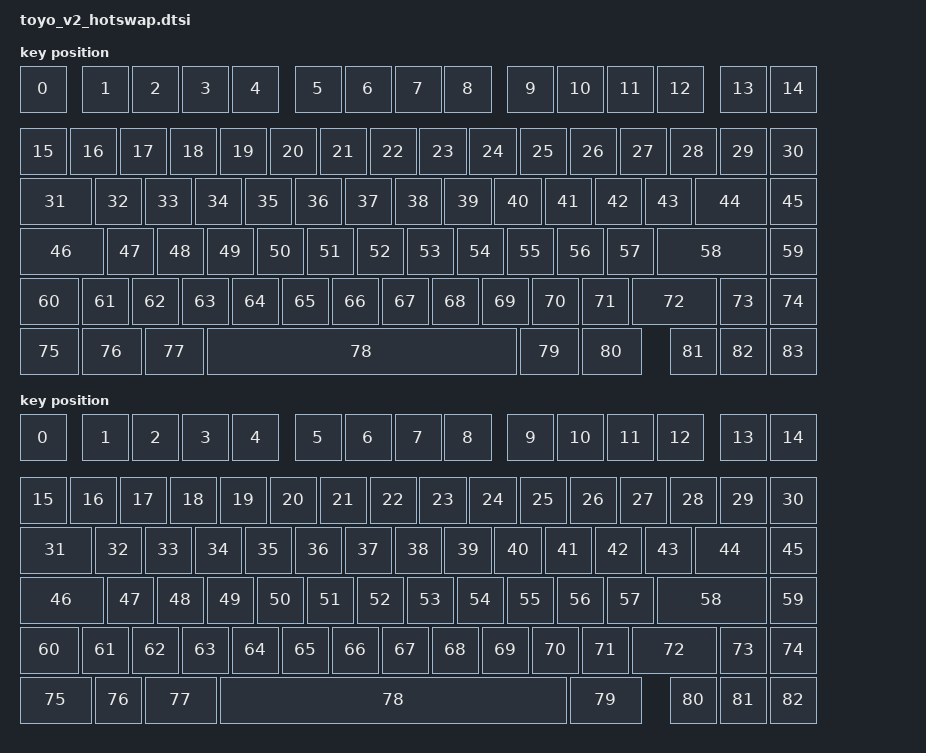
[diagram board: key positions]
#include <physical_layouts.dtsi>

/ {
    ansi_layout: ansi_layout {
        compatible = "zmk,physical-layout";
        display-name = "ANSI";

        kscan = <&kscan0>;
        transform = <&matrix_transform_0>;

        keys  //                     w   h    x    y     rot    rx    ry
            = <&key_physical_attrs 100 100    0    0       0     0     0>
            , <&key_physical_attrs 100 100  125    0       0     0     0>
            , <&key_physical_attrs 100 100  225    0       0     0     0>
            , <&key_physical_attrs 100 100  325    0       0     0     0>
            , <&key_physical_attrs 100 100  425    0       0     0     0>
            , <&key_physical_attrs 100 100  550    0       0     0     0>
            , <&key_physical_attrs 100 100  650    0       0     0     0>
            , <&key_physical_attrs 100 100  750    0       0     0     0>
            , <&key_physical_attrs 100 100  850    0       0     0     0>
            , <&key_physical_attrs 100 100  975    0       0     0     0>
            , <&key_physical_attrs 100 100 1075    0       0     0     0>
            , <&key_physical_attrs 100 100 1175    0       0     0     0>
            , <&key_physical_attrs 100 100 1275    0       0     0     0>
            , <&key_physical_attrs 100 100 1400    0       0     0     0>
            , <&key_physical_attrs 100 100 1500    0       0     0     0>
            , <&key_physical_attrs 100 100    0  125       0     0     0>
            , <&key_physical_attrs 100 100  100  125       0     0     0>
            , <&key_physical_attrs 100 100  200  125       0     0     0>
            , <&key_physical_attrs 100 100  300  125       0     0     0>
            , <&key_physical_attrs 100 100  400  125       0     0     0>
            , <&key_physical_attrs 100 100  500  125       0     0     0>
            , <&key_physical_attrs 100 100  600  125       0     0     0>
            , <&key_physical_attrs 100 100  700  125       0     0     0>
            , <&key_physical_attrs 100 100  800  125       0     0     0>
            , <&key_physical_attrs 100 100  900  125       0     0     0>
            , <&key_physical_attrs 100 100 1000  125       0     0     0>
            , <&key_physical_attrs 100 100 1100  125       0     0     0>
            , <&key_physical_attrs 100 100 1200  125       0     0     0>
            , <&key_physical_attrs 100 100 1300  125       0     0     0>
            , <&key_physical_attrs 100 100 1400  125       0     0     0>
            , <&key_physical_attrs 100 100 1500  125       0     0     0>
            , <&key_physical_attrs 150 100    0  225       0     0     0>
            , <&key_physical_attrs 100 100  150  225       0     0     0>
            , <&key_physical_attrs 100 100  250  225       0     0     0>
            , <&key_physical_attrs 100 100  350  225       0     0     0>
            , <&key_physical_attrs 100 100  450  225       0     0     0>
            , <&key_physical_attrs 100 100  550  225       0     0     0>
            , <&key_physical_attrs 100 100  650  225       0     0     0>
            , <&key_physical_attrs 100 100  750  225       0     0     0>
            , <&key_physical_attrs 100 100  850  225       0     0     0>
            , <&key_physical_attrs 100 100  950  225       0     0     0>
            , <&key_physical_attrs 100 100 1050  225       0     0     0>
            , <&key_physical_attrs 100 100 1150  225       0     0     0>
            , <&key_physical_attrs 100 100 1250  225       0     0     0>
            , <&key_physical_attrs 150 100 1350  225       0     0     0>
            , <&key_physical_attrs 100 100 1500  225       0     0     0>
            , <&key_physical_attrs 175 100    0  325       0     0     0>
            , <&key_physical_attrs 100 100  175  325       0     0     0>
            , <&key_physical_attrs 100 100  275  325       0     0     0>
            , <&key_physical_attrs 100 100  375  325       0     0     0>
            , <&key_physical_attrs 100 100  475  325       0     0     0>
            , <&key_physical_attrs 100 100  575  325       0     0     0>
            , <&key_physical_attrs 100 100  675  325       0     0     0>
            , <&key_physical_attrs 100 100  775  325       0     0     0>
            , <&key_physical_attrs 100 100  875  325       0     0     0>
            , <&key_physical_attrs 100 100  975  325       0     0     0>
            , <&key_physical_attrs 100 100 1075  325       0     0     0>
            , <&key_physical_attrs 100 100 1175  325       0     0     0>
            , <&key_physical_attrs 225 100 1275  325       0     0     0>
            , <&key_physical_attrs 100 100 1500  325       0     0     0>
            , <&key_physical_attrs 125 100    0  425       0     0     0>
            , <&key_physical_attrs 100 100  125  425       0     0     0>
            , <&key_physical_attrs 100 100  225  425       0     0     0>
            , <&key_physical_attrs 100 100  325  425       0     0     0>
            , <&key_physical_attrs 100 100  425  425       0     0     0>
            , <&key_physical_attrs 100 100  525  425       0     0     0>
            , <&key_physical_attrs 100 100  625  425       0     0     0>
            , <&key_physical_attrs 100 100  725  425       0     0     0>
            , <&key_physical_attrs 100 100  825  425       0     0     0>
            , <&key_physical_attrs 100 100  925  425       0     0     0>
            , <&key_physical_attrs 100 100 1025  425       0     0     0>
            , <&key_physical_attrs 100 100 1125  425       0     0     0>
            , <&key_physical_attrs 175 100 1225  425       0     0     0>
            , <&key_physical_attrs 100 100 1400  425       0     0     0>
            , <&key_physical_attrs 100 100 1500  425       0     0     0>
            , <&key_physical_attrs 125 100    0  525       0     0     0>
            , <&key_physical_attrs 125 100  125  525       0     0     0>
            , <&key_physical_attrs 125 100  250  525       0     0     0>
            , <&key_physical_attrs 625 100  375  525       0     0     0>
            , <&key_physical_attrs 125 100 1000  525       0     0     0>
            , <&key_physical_attrs 125 100 1125  525       0     0     0>
            , <&key_physical_attrs 100 100 1300  525       0     0     0>
            , <&key_physical_attrs 100 100 1400  525       0     0     0>
            , <&key_physical_attrs 100 100 1500  525       0     0     0>
            ;
    };

    tsangan_layout: tsangan_layout {
        compatible = "zmk,physical-layout";
        display-name = "TSANGAN";

        kscan = <&kscan0>;
        transform = <&matrix_transform_1>;

        keys  //                     w   h    x    y     rot    rx    ry
            = <&key_physical_attrs 100 100    0    0       0     0     0>
            , <&key_physical_attrs 100 100  125    0       0     0     0>
            , <&key_physical_attrs 100 100  225    0       0     0     0>
            , <&key_physical_attrs 100 100  325    0       0     0     0>
            , <&key_physical_attrs 100 100  425    0       0     0     0>
            , <&key_physical_attrs 100 100  550    0       0     0     0>
            , <&key_physical_attrs 100 100  650    0       0     0     0>
            , <&key_physical_attrs 100 100  750    0       0     0     0>
            , <&key_physical_attrs 100 100  850    0       0     0     0>
            , <&key_physical_attrs 100 100  975    0       0     0     0>
            , <&key_physical_attrs 100 100 1075    0       0     0     0>
            , <&key_physical_attrs 100 100 1175    0       0     0     0>
            , <&key_physical_attrs 100 100 1275    0       0     0     0>
            , <&key_physical_attrs 100 100 1400    0       0     0     0>
            , <&key_physical_attrs 100 100 1500    0       0     0     0>
            , <&key_physical_attrs 100 100    0  125       0     0     0>
            , <&key_physical_attrs 100 100  100  125       0     0     0>
            , <&key_physical_attrs 100 100  200  125       0     0     0>
            , <&key_physical_attrs 100 100  300  125       0     0     0>
            , <&key_physical_attrs 100 100  400  125       0     0     0>
            , <&key_physical_attrs 100 100  500  125       0     0     0>
            , <&key_physical_attrs 100 100  600  125       0     0     0>
            , <&key_physical_attrs 100 100  700  125       0     0     0>
            , <&key_physical_attrs 100 100  800  125       0     0     0>
            , <&key_physical_attrs 100 100  900  125       0     0     0>
            , <&key_physical_attrs 100 100 1000  125       0     0     0>
            , <&key_physical_attrs 100 100 1100  125       0     0     0>
            , <&key_physical_attrs 100 100 1200  125       0     0     0>
            , <&key_physical_attrs 100 100 1300  125       0     0     0>
            , <&key_physical_attrs 100 100 1400  125       0     0     0>
            , <&key_physical_attrs 100 100 1500  125       0     0     0>
            , <&key_physical_attrs 150 100    0  225       0     0     0>
            , <&key_physical_attrs 100 100  150  225       0     0     0>
            , <&key_physical_attrs 100 100  250  225       0     0     0>
            , <&key_physical_attrs 100 100  350  225       0     0     0>
            , <&key_physical_attrs 100 100  450  225       0     0     0>
            , <&key_physical_attrs 100 100  550  225       0     0     0>
            , <&key_physical_attrs 100 100  650  225       0     0     0>
            , <&key_physical_attrs 100 100  750  225       0     0     0>
            , <&key_physical_attrs 100 100  850  225       0     0     0>
            , <&key_physical_attrs 100 100  950  225       0     0     0>
            , <&key_physical_attrs 100 100 1050  225       0     0     0>
            , <&key_physical_attrs 100 100 1150  225       0     0     0>
            , <&key_physical_attrs 100 100 1250  225       0     0     0>
            , <&key_physical_attrs 150 100 1350  225       0     0     0>
            , <&key_physical_attrs 100 100 1500  225       0     0     0>
            , <&key_physical_attrs 175 100    0  325       0     0     0>
            , <&key_physical_attrs 100 100  175  325       0     0     0>
            , <&key_physical_attrs 100 100  275  325       0     0     0>
            , <&key_physical_attrs 100 100  375  325       0     0     0>
            , <&key_physical_attrs 100 100  475  325       0     0     0>
            , <&key_physical_attrs 100 100  575  325       0     0     0>
            , <&key_physical_attrs 100 100  675  325       0     0     0>
            , <&key_physical_attrs 100 100  775  325       0     0     0>
            , <&key_physical_attrs 100 100  875  325       0     0     0>
            , <&key_physical_attrs 100 100  975  325       0     0     0>
            , <&key_physical_attrs 100 100 1075  325       0     0     0>
            , <&key_physical_attrs 100 100 1175  325       0     0     0>
            , <&key_physical_attrs 225 100 1275  325       0     0     0>
            , <&key_physical_attrs 100 100 1500  325       0     0     0>
            , <&key_physical_attrs 125 100    0  425       0     0     0>
            , <&key_physical_attrs 100 100  125  425       0     0     0>
            , <&key_physical_attrs 100 100  225  425       0     0     0>
            , <&key_physical_attrs 100 100  325  425       0     0     0>
            , <&key_physical_attrs 100 100  425  425       0     0     0>
            , <&key_physical_attrs 100 100  525  425       0     0     0>
            , <&key_physical_attrs 100 100  625  425       0     0     0>
            , <&key_physical_attrs 100 100  725  425       0     0     0>
            , <&key_physical_attrs 100 100  825  425       0     0     0>
            , <&key_physical_attrs 100 100  925  425       0     0     0>
            , <&key_physical_attrs 100 100 1025  425       0     0     0>
            , <&key_physical_attrs 100 100 1125  425       0     0     0>
            , <&key_physical_attrs 175 100 1225  425       0     0     0>
            , <&key_physical_attrs 100 100 1400  425       0     0     0>
            , <&key_physical_attrs 100 100 1500  425       0     0     0>
            , <&key_physical_attrs 150 100    0  525       0     0     0>
            , <&key_physical_attrs 100 100  150  525       0     0     0>
            , <&key_physical_attrs 150 100  250  525       0     0     0>
            , <&key_physical_attrs 700 100  400  525       0     0     0>
            , <&key_physical_attrs 150 100 1100  525       0     0     0>
            , <&key_physical_attrs 100 100 1300  525       0     0     0>
            , <&key_physical_attrs 100 100 1400  525       0     0     0>
            , <&key_physical_attrs 100 100 1500  525       0     0     0>
            ;
    };

    position_map {
        compatible = "zmk,physical-layout-position-map";

        complete;

        layout0: layout0 {
            physical-layout = <&ansi_layout>;
            positions
                = < 0  1  2  3  4  5  6  7  8  9 10 11 12 13 14 15>
                , <16 17 18 19 20 21 22 23 24 25 26 27 28 29 30 31>
                , <32 33 34 35 36 37 38 39 40 41 42 43 44 45 46 47>
                , <48 49 50 51 52 53 54 55 56 57 58 59 60 61 62 63>
                , <64 65 66 67 68 69 70 71 72 73 74 75 76 77 78 79>
                , <80 81 82 83>
                ;
        };

        layout1: layout1 {
            physical-layout = <&tsangan_layout>;
            positions
                = < 0  1  2  3  4  5  6  7  8  9 10 11 12 13 14 15>
                , <16 17 18 19 20 21 22 23 24 25 26 27 28 29 30 31>
                , <32 33 34 35 36 37 38 39 40 41 42 43 44 45 46 47>
                , <48 49 50 51 52 53 54 55 56 57 58 59 60 61 62 63>
                , <64 65 66 67 68 69 70 71 72 73 74 75 76 77 78 83>
                , <79 80 81 82>
                ;
        };
    };
};
